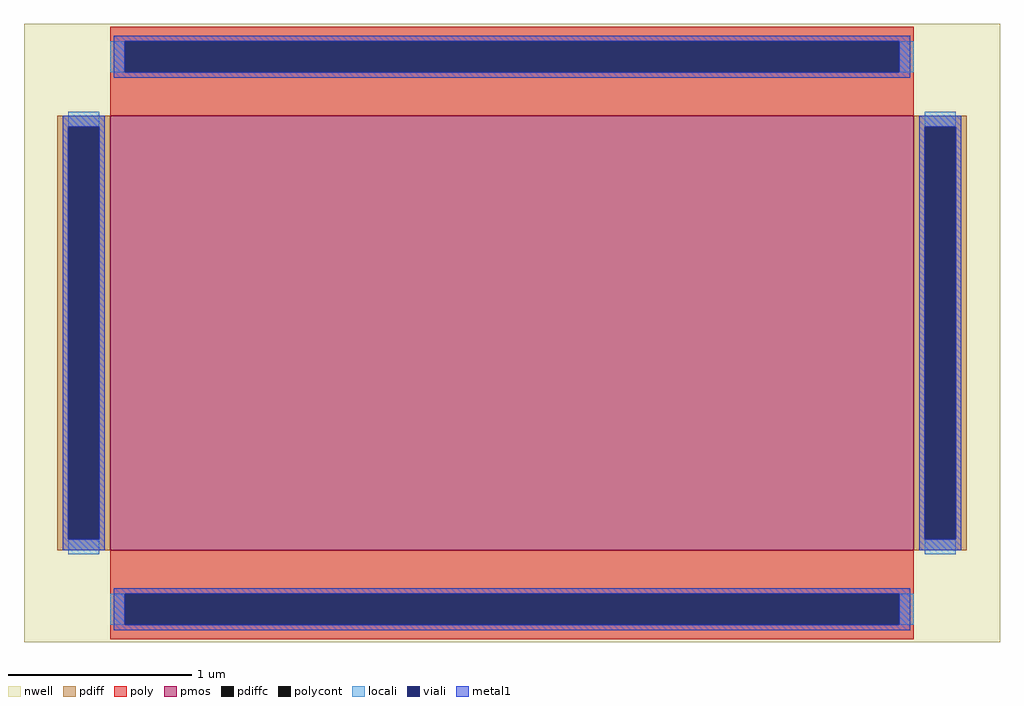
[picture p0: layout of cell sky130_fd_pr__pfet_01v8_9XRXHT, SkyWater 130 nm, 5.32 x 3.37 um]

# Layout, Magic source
magic
tech sky130A
magscale 1 2
<< nwell >>
rect -532 -337 532 337
<< pmos >>
rect -438 -237 438 237
<< pdiff >>
rect -496 225 -438 237
rect -496 -225 -484 225
rect -450 -225 -438 225
rect -496 -237 -438 -225
rect 438 225 496 237
rect 438 -225 450 225
rect 484 -225 496 225
rect 438 -237 496 -225
<< pdiffc >>
rect -484 -225 -450 225
rect 450 -225 484 225
<< poly >>
rect -438 318 438 334
rect -438 284 -422 318
rect 422 284 438 318
rect -438 237 438 284
rect -438 -284 438 -237
rect -438 -318 -422 -284
rect 422 -318 438 -284
rect -438 -334 438 -318
<< polycont >>
rect -422 284 422 318
rect -422 -318 422 -284
<< locali >>
rect -438 284 -422 318
rect 422 284 438 318
rect -484 225 -450 241
rect -484 -241 -450 -225
rect 450 225 484 241
rect 450 -241 484 -225
rect -438 -318 -422 -284
rect 422 -318 438 -284
<< viali >>
rect -422 284 422 318
rect -484 -225 -450 225
rect 450 -225 484 225
rect -422 -318 422 -284
<< metal1 >>
rect -434 318 434 324
rect -434 284 -422 318
rect 422 284 434 318
rect -434 278 434 284
rect -490 225 -444 237
rect -490 -225 -484 225
rect -450 -225 -444 225
rect -490 -237 -444 -225
rect 444 225 490 237
rect 444 -225 450 225
rect 484 -225 490 225
rect 444 -237 490 -225
rect -434 -284 434 -278
rect -434 -318 -422 -284
rect 422 -318 434 -284
rect -434 -324 434 -318
<< properties >>
string gencell sky130_fd_pr__pfet_01v8
string library sky130
string parameters w 2.37 l 4.38 m 1 nf 1 diffcov 100 polycov 100 guard 0 glc 0 grc 0 gtc 0 gbc 0 tbcov 100 rlcov 100 topc 1 botc 1 poverlap 0 doverlap 1 lmin 0.15 wmin 0.42 compatible {sky130_fd_pr__pfet_01v8  sky130_fd_pr__pfet_01v8_lvt sky130_fd_pr__pfet_01v8_hvt  sky130_fd_pr__pfet_g5v0d10v5} full_metal 0 viasrc 100 viadrn 100 viagate 100 viagb 0 viagr 0 viagl 0 viagt 0
<< end >>
